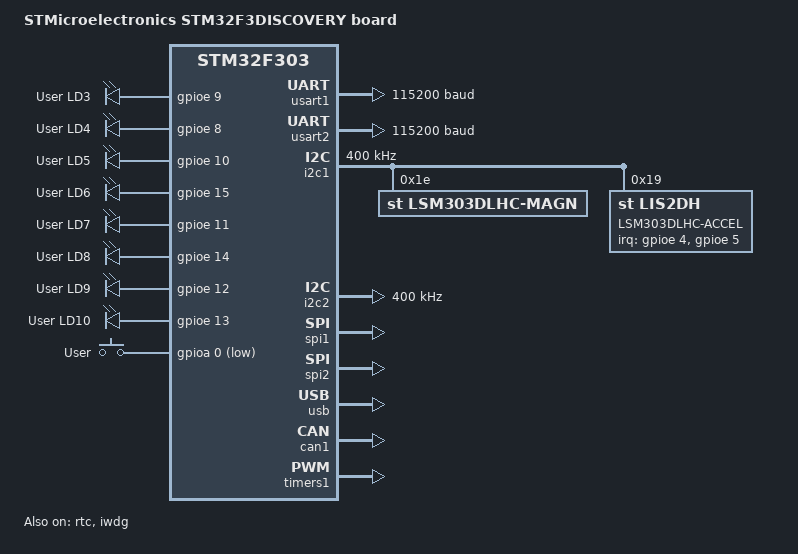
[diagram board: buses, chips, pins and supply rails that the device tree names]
/*
 * Copyright (c) 2017 I-SENSE group of ICCS
 *
 * SPDX-License-Identifier: Apache-2.0
 */

/dts-v1/;
#include <st/f3/stm32f303Xc.dtsi>

/ {
	model = "STMicroelectronics STM32F3DISCOVERY board";
	compatible = "st,stm32f3discovery", "st,stm32f303";

	chosen {
		zephyr,console = &usart1;
		zephyr,shell-uart = &usart1;
		zephyr,sram = &sram0;
		zephyr,flash = &flash0;
		zephyr,can-primary = &can1;
	};

	leds {
		compatible = "gpio-leds";
		red_led_3: led_3 {
			gpios = <&gpioe 9 GPIO_ACTIVE_HIGH>;
			label = "User LD3";
		};
		blue_led_4: led_4 {
			gpios = <&gpioe 8 GPIO_ACTIVE_HIGH>;
			label = "User LD4";
		};
		orange_led_5: led_5 {
			gpios = <&gpioe 10 GPIO_ACTIVE_HIGH>;
			label = "User LD5";
		};
		green_led_6: led_6 {
			gpios = <&gpioe 15 GPIO_ACTIVE_HIGH>;
			label = "User LD6";
		};
		green_led_7: led_7 {
			gpios = <&gpioe 11 GPIO_ACTIVE_HIGH>;
			label = "User LD7";
		};
		orange_led_8: led_8 {
			gpios = <&gpioe 14 GPIO_ACTIVE_HIGH>;
			label = "User LD8";
		};
		blue_led_9: led_9 {
			gpios = <&gpioe 12 GPIO_ACTIVE_HIGH>;
			label = "User LD9";
		};
		red_led_10: led_10 {
			gpios = <&gpioe 13 GPIO_ACTIVE_HIGH>;
			label = "User LD10";
		};
	};

	gpio_keys {
		compatible = "gpio-keys";
		user_button: button {
			label = "User";
			gpios = <&gpioa 0 GPIO_ACTIVE_LOW>;
		};
	};

	aliases {
		led0 = &green_led_6;
		led1 = &green_led_7;
		sw0 = &user_button;
	};
};

&usart1 {
	current-speed = <115200>;
	status = "okay";
};

&usart2 {
	current-speed = <115200>;
	status = "okay";
};

&i2c1 {
	status = "okay";
	clock-frequency = <I2C_BITRATE_FAST>;

	lsm303dlhc-magn@1e {
		compatible = "st,lsm303dlhc-magn";
		reg = <0x1e>;
		label = "LSM303DLHC-MAGN";
	};

	lsm303dlhc-accel@19 {
		compatible = "st,lis2dh", "st,lsm303dlhc-accel";
		reg = <0x19>;
		irq-gpios = <&gpioe 4 GPIO_ACTIVE_HIGH>,
			  <&gpioe 5 GPIO_ACTIVE_HIGH>;
		label = "LSM303DLHC-ACCEL";
	};
};

&i2c2 {
	status = "okay";
	clock-frequency = <I2C_BITRATE_FAST>;
};

&spi1 {
	status = "okay";
};

&spi2 {
	status = "okay";
};

&usb {
	status = "okay";
};

&rtc {
	status = "okay";
};

&can1 {
	status = "okay";
};

&flash0 {
	/*
	 * For more information, see:
	 * https://docs.zephyrproject.org/latest/guides/dts/legacy-macros.html#legacy-flash-partitions
	 */
	partitions {
		compatible = "fixed-partitions";
		#address-cells = <1>;
		#size-cells = <1>;

		/* Set 6Kb of storage at the end of the 256Kb of flash */
		storage_partition: partition@3e800 {
			label = "storage";
			reg = <0x0003e800 0x00001800>;
		};
	};
};

&iwdg {
	status = "okay";
};

&timers1 {
	status = "okay";
	pwm1: pwm {
		status = "okay";
	};
};
